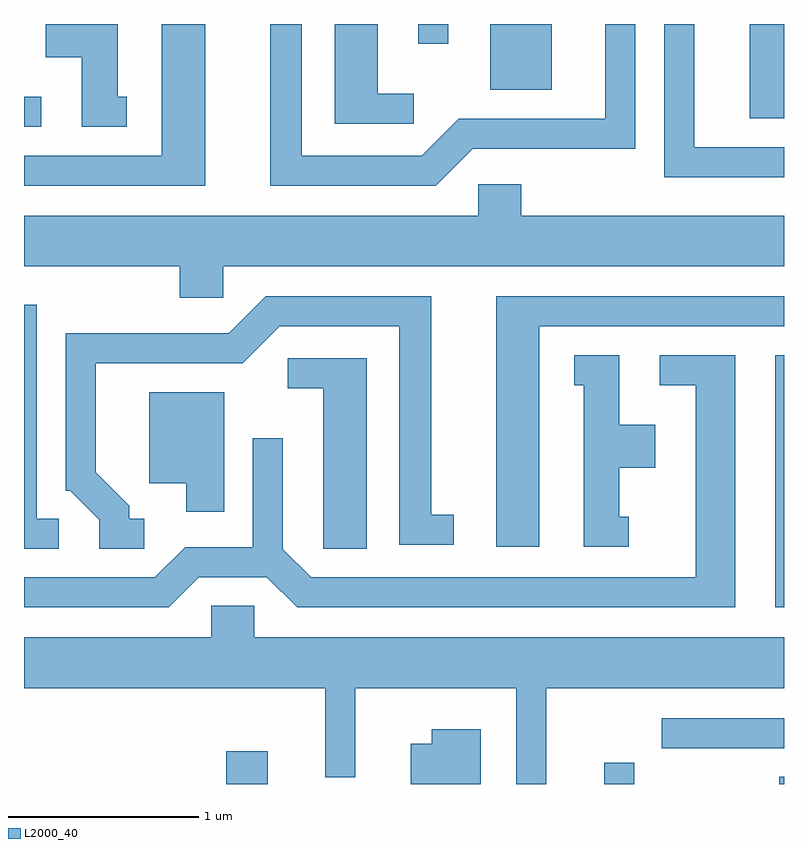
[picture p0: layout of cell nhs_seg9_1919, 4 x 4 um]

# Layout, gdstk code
import gdstk
lib = gdstk.Library(unit=1e-6, precision=1e-09)
def R(c, l, rs):  # rectangles x0, y0, x1, y1
    for r in rs: c.add(gdstk.rectangle(r[:2], r[2:], *l))
def P(c, l, *ps):  # polygons
    for p in ps: c.add(gdstk.Polygon(p, *l))
L2000_40 = (2000, 40)

nhs_seg9_1919 = lib.new_cell('nhs_seg9_1919')
R(nhs_seg9_1919, L2000_40, [(242.676,1982.432,242.894,1982.604), (244.666,1982.432,244.824,1982.543), (245.586,1982.432,245.611,1982.469), (244.968,1982.621,245.611,1982.779), (245.566,1983.361,245.611,1984.689), (241.611,1985.891,241.703,1986.049), (245.431,1985.936,245.611,1986.432), (244.066,1986.086,244.389,1986.432), (243.686,1986.328,243.844,1986.432)])
P(nhs_seg9_1919, L2000_40, [(242.564,1986.432),(242.336,1986.432),(242.336,1985.739),(241.611,1985.739),(241.611,1985.581),(242.564,1985.581)],
  [(243.972,1985.776),(244.829,1985.776),(244.829,1986.432),(244.671,1986.432),(244.671,1985.934),(243.899,1985.934),(243.704,1985.739),(243.074,1985.739),(243.074,1986.432),(242.906,1986.432),(242.906,1985.581),(243.777,1985.581)],
  [(243.663,1986.064),(243.474,1986.064),(243.474,1986.432),(243.246,1986.432),(243.246,1985.906),(243.663,1985.906)],
  [(245.611,1985.784),(245.139,1985.784),(245.139,1986.432),(244.981,1986.432),(244.981,1985.626),(245.611,1985.626)],
  [(242.153,1986.049),(242.104,1986.049),(242.104,1986.432),(241.726,1986.432),(241.726,1986.256),(241.916,1986.256),(241.916,1985.891),(242.153,1985.891)],
  [(242.659,1985.156),(245.611,1985.156),(245.611,1985.424),(244.229,1985.424),(244.229,1985.589),(244.001,1985.589),(244.001,1985.424),(241.611,1985.424),(241.611,1985.156),(242.431,1985.156),(242.431,1984.991),(242.659,1984.991)],
  [(242.243,1983.829),(242.164,1983.829),(242.164,1983.897),(241.989,1984.072),(241.989,1984.646),(242.762,1984.646),(242.957,1984.841),(243.586,1984.841),(243.586,1983.691),(243.873,1983.691),(243.873,1983.849),(243.754,1983.849),(243.754,1984.999),(242.884,1984.999),(242.689,1984.804),(241.831,1984.804),(241.831,1983.976),(241.854,1983.976),(242.006,1983.824),(242.006,1983.671),(242.243,1983.671)],
  [(244.324,1984.841),(245.611,1984.841),(245.611,1984.999),(244.096,1984.999),(244.096,1983.681),(244.324,1983.681)],
  [(241.793,1983.829),(241.679,1983.829),(241.679,1984.954),(241.611,1984.954),(241.611,1983.671),(241.793,1983.671)],
  [(244.793,1983.839),(244.744,1983.839),(244.744,1984.096),(244.934,1984.096),(244.934,1984.324),(244.744,1984.324),(244.744,1984.689),(244.508,1984.689),(244.508,1984.531),(244.556,1984.531),(244.556,1983.681),(244.793,1983.681)],
  [(242.532,1983.521),(242.889,1983.521),(243.049,1983.361),(245.354,1983.361),(245.354,1984.689),(244.958,1984.689),(244.958,1984.531),(245.146,1984.531),(245.146,1983.519),(243.122,1983.519),(242.974,1983.667),(242.974,1984.253),(242.816,1984.253),(242.816,1983.679),(242.459,1983.679),(242.299,1983.519),(241.611,1983.519),(241.611,1983.361),(242.372,1983.361)],
  [(243.414,1984.674),(242.998,1984.674),(242.998,1984.516),(243.186,1984.516),(243.186,1983.671),(243.414,1983.671)],
  [(242.664,1984.494),(242.271,1984.494),(242.271,1984.016),(242.466,1984.016),(242.466,1983.866),(242.664,1983.866)],
  [(244.359,1982.936),(245.611,1982.936),(245.611,1983.204),(242.824,1983.204),(242.824,1983.369),(242.596,1983.369),(242.596,1983.204),(241.611,1983.204),(241.611,1982.936),(243.196,1982.936),(243.196,1982.468),(243.354,1982.468),(243.354,1982.936),(244.201,1982.936),(244.201,1982.432),(244.359,1982.432)],
  [(244.014,1982.719),(243.756,1982.719),(243.756,1982.644),(243.646,1982.644),(243.646,1982.432),(244.014,1982.432)])

lib.write_gds('nhs_seg9_1919.gds')
